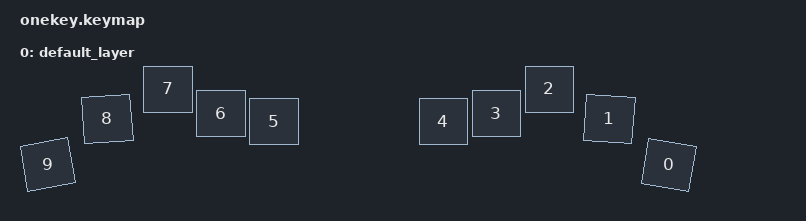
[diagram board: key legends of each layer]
/*
 * Copyright (c) 2021 The ZMK Contributors
 *
 * SPDX-License-Identifier: MIT
 */

#include <behaviors.dtsi>
#include <dt-bindings/zmk/keys.h>
#include <dt-bindings/zmk/bt.h>
#include <dt-bindings/zmk/outputs.h>

/ {
    keymap0: keymap {
        compatible = "zmk,keymap";

        default_layer {
            bindings = <
                &kp N9 &kp N8
                &kp N7 &kp N6
                       &kp N5
                        &kp N4 &kp N3
                              &kp N2 &kp N1
                                        &kp N0
                >;
        };
    };
};
};
